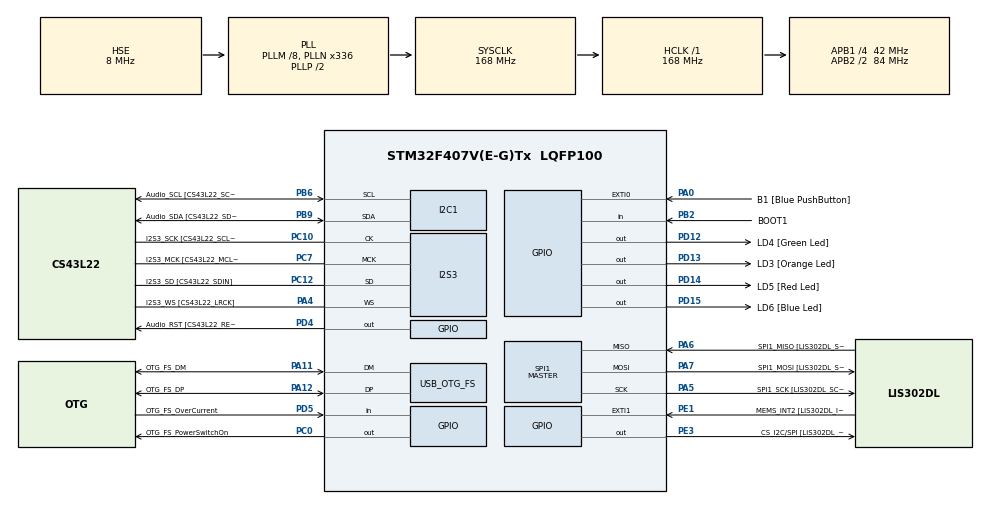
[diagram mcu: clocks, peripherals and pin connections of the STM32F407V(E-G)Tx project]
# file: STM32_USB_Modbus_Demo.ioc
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I2S3.AudioFreq-Half_Duplex_Master=I2S_AUDIOFREQ_96K
I2S3.ErrorAudioFreq=-2.34 %
I2S3.ErrorAudioFreq-Half_Duplex_Master=0.8 %
I2S3.FullDuplexMode=I2S_FULLDUPLEXMODE_DISABLE
I2S3.Instance=SPI$Index
I2S3.RealAudioFreq=93.75 KHz
I2S3.RealAudioFreq-Half_Duplex_Master=96.774 KHz
I2S3.VirtualMode=I2S_MODE_MASTER
Mcu.Family=STM32F4
Mcu.Name=STM32F407V(E-G)Tx
Mcu.Package=LQFP100
NVIC.OTG_FS_IRQn=true\:0\:0\:false\:false\:true\:true\:true
NVIC.PriorityGroup=NVIC_PRIORITYGROUP_0
PA0-WKUP.GPIO_Label=B1 [Blue PushButton]
PA0-WKUP.GPIO_ModeDefaultEXTI=GPIO_MODE_EVT_RISING
PA0-WKUP.GPIO_PuPd=GPIO_NOPULL
PA0-WKUP.Signal=GPXTI0
PA10.GPIO_Label=OTG_FS_ID
PA10.GPIO_Mode=GPIO_MODE_AF_PP
PA10.GPIO_PuPd=GPIO_NOPULL
PA10.GPIO_Speed=GPIO_SPEED_FREQ_LOW
PA10.Signal=USB_OTG_FS_ID
PA11.GPIO_Label=OTG_FS_DM
PA11.GPIO_Mode=GPIO_MODE_AF_PP
PA11.GPIO_PuPd=GPIO_NOPULL
PA11.GPIO_Speed=GPIO_SPEED_FREQ_LOW
PA11.Mode=Device_Only
PA11.Signal=USB_OTG_FS_DM
PA12.GPIO_Label=OTG_FS_DP
PA12.GPIO_Mode=GPIO_MODE_AF_PP
PA12.GPIO_PuPd=GPIO_NOPULL
PA12.GPIO_Speed=GPIO_SPEED_FREQ_LOW
PA12.Mode=Device_Only
PA12.Signal=USB_OTG_FS_DP
PA13.GPIO_Label=SWDIO
PA13.Mode=Serial_Wire
PA13.Signal=SYS_JTMS-SWDIO
PA14.GPIO_Label=SWCLK
PA14.Mode=Serial_Wire
PA14.Signal=SYS_JTCK-SWCLK
PA4.GPIO_Label=I2S3_WS [CS43L22_LRCK]
PA4.GPIO_Mode=GPIO_MODE_AF_PP
PA4.GPIO_PuPd=GPIO_NOPULL
PA4.GPIO_Speed=GPIO_SPEED_FREQ_LOW
PA4.Mode=Half_Duplex_Master
PA4.Signal=I2S3_WS
PA5.GPIO_Label=SPI1_SCK [LIS302DL_SCL/SPC]
PA5.GPIO_Mode=GPIO_MODE_AF_PP
PA5.GPIO_PuPd=GPIO_NOPULL
PA5.GPIO_Speed=GPIO_SPEED_FREQ_LOW
PA5.Mode=Full_Duplex_Master
PA5.Signal=SPI1_SCK
PA6.GPIO_Label=SPI1_MISO [LIS302DL_SDO]
PA6.GPIO_Mode=GPIO_MODE_AF_PP
PA6.GPIO_PuPd=GPIO_NOPULL
PA6.GPIO_Speed=GPIO_SPEED_FREQ_LOW
PA6.Mode=Full_Duplex_Master
PA6.Signal=SPI1_MISO
PA7.GPIO_Label=SPI1_MOSI [LIS302DL_SDA/SDI/SDO]
PA7.GPIO_Mode=GPIO_MODE_AF_PP
PA7.GPIO_PuPd=GPIO_NOPULL
PA7.GPIO_Speed=GPIO_SPEED_FREQ_LOW
PA7.Mode=Full_Duplex_Master
PA7.Signal=SPI1_MOSI
PA9.GPIO_Label=VBUS_FS
PA9.GPIO_Mode=GPIO_MODE_INPUT
PA9.GPIO_PuPd=GPIO_NOPULL
PA9.Signal=USB_OTG_FS_VBUS
PB10.GPIO_Label=CLK_IN [MP45DT02_CLK]
PB10.GPIO_Mode=GPIO_MODE_AF_PP
PB10.GPIO_PuPd=GPIO_NOPULL
PB10.GPIO_Speed=GPIO_SPEED_FREQ_LOW
PB10.Signal=I2S2_CK
PB2.GPIO_Label=BOOT1
PB2.GPIO_Mode=GPIO_MODE_INPUT
PB2.GPIO_PuPd=GPIO_NOPULL
PB2.Signal=GPIO_Input
PB3.GPIO_Label=SWO
PB3.Signal=SYS_JTDO-SWO
PB6.GPIO_Label=Audio_SCL [CS43L22_SCL]
PB6.GPIO_Mode=GPIO_MODE_AF_OD
PB6.GPIO_Pu=GPIO_PULLUP
PB6.GPIO_PuPd=GPIO_NOPULL
PB6.GPIO_Speed=GPIO_SPEED_FREQ_LOW
PB6.Mode=I2C
PB6.Signal=I2C1_SCL
PB9.GPIO_Label=Audio_SDA [CS43L22_SDA]
PB9.GPIO_Mode=GPIO_MODE_AF_OD
PB9.GPIO_Pu=GPIO_PULLUP
PB9.GPIO_PuPd=GPIO_NOPULL
PB9.GPIO_Speed=GPIO_SPEED_FREQ_LOW
PB9.Mode=I2C
PB9.Signal=I2C1_SDA
PC0.GPIO_Label=OTG_FS_PowerSwitchOn
PC0.GPIO_PuPd=GPIO_NOPULL
PC0.GPIO_Speed=GPIO_SPEED_FREQ_LOW
PC0.PinState=GPIO_PIN_SET
PC0.Signal=GPIO_Output
PC10.GPIO_Label=I2S3_SCK [CS43L22_SCLK]
PC10.GPIO_Mode=GPIO_MODE_AF_PP
PC10.GPIO_PuPd=GPIO_NOPULL
PC10.GPIO_Speed=GPIO_SPEED_FREQ_LOW
PC10.Mode=Half_Duplex_Master
PC10.Signal=I2S3_CK
PC12.GPIO_Label=I2S3_SD [CS43L22_SDIN]
PC12.GPIO_Mode=GPIO_MODE_AF_PP
PC12.GPIO_PuPd=GPIO_NOPULL
PC12.GPIO_Speed=GPIO_SPEED_FREQ_LOW
PC12.Mode=Half_Duplex_Master
PC12.Signal=I2S3_SD
PC14-OSC32_IN.GPIO_Label=PC14-OSC32_IN
PC14-OSC32_IN.Mode=LSE-External-Oscillator
PC14-OSC32_IN.Signal=RCC_OSC32_IN
PC15-OSC32_OUT.GPIO_Label=PC15-OSC32_OUT
PC15-OSC32_OUT.Mode=LSE-External-Oscillator
PC15-OSC32_OUT.Signal=RCC_OSC32_OUT
PC3.GPIO_Label=PDM_OUT [MP45DT02_DOUT]
PC3.GPIO_Mode=GPIO_MODE_AF_PP
PC3.GPIO_PuPd=GPIO_NOPULL
PC3.GPIO_Speed=GPIO_SPEED_FREQ_LOW
PC3.Signal=I2S2_SD
PC7.GPIO_Label=I2S3_MCK [CS43L22_MCLK]
PC7.GPIO_Mode=GPIO_MODE_AF_PP
PC7.GPIO_PuPd=GPIO_NOPULL
PC7.GPIO_Speed=GPIO_SPEED_FREQ_LOW
PC7.Mode=Master_Clock_Activated
PC7.Signal=I2S3_MCK
PD12.GPIO_Label=LD4 [Green Led]
PD12.GPIO_PuPd=GPIO_NOPULL
PD12.GPIO_Speed=GPIO_SPEED_FREQ_LOW
PD12.Signal=GPIO_Output
PD13.GPIO_Label=LD3 [Orange Led]
PD13.GPIO_PuPd=GPIO_NOPULL
PD13.GPIO_Speed=GPIO_SPEED_FREQ_LOW
PD13.Signal=GPIO_Output
PD14.GPIO_Label=LD5 [Red Led]
PD14.GPIO_PuPd=GPIO_NOPULL
PD14.GPIO_Speed=GPIO_SPEED_FREQ_LOW
PD14.Signal=GPIO_Output
PD15.GPIO_Label=LD6 [Blue Led]
PD15.GPIO_PuPd=GPIO_NOPULL
PD15.GPIO_Speed=GPIO_SPEED_FREQ_LOW
PD15.Signal=GPIO_Output
PD4.GPIO_Label=Audio_RST [CS43L22_RESET]
PD4.GPIO_PuPd=GPIO_NOPULL
PD4.GPIO_Speed=GPIO_SPEED_FREQ_LOW
PD4.Signal=GPIO_Output
PD5.GPIO_Label=OTG_FS_OverCurrent
PD5.GPIO_Mode=GPIO_MODE_INPUT
PD5.GPIO_PuPd=GPIO_NOPULL
PD5.Signal=GPIO_Input
PE1.GPIO_Label=MEMS_INT2 [LIS302DL_INT2]
PE1.GPIO_ModeDefaultEXTI=GPIO_MODE_EVT_RISING
PE1.GPIO_PuPd=GPIO_NOPULL
PE1.Signal=GPXTI1
PE3.GPIO_Label=CS_I2C/SPI [LIS302DL_CS_I2C/SPI]
PE3.GPIO_PuPd=GPIO_NOPULL
PE3.GPIO_Speed=GPIO_SPEED_FREQ_LOW
PE3.Signal=GPIO_Output
PH0-OSC_IN.GPIO_Label=PH0-OSC_IN
PH0-OSC_IN.Mode=HSE-External-Oscillator
PH0-OSC_IN.Signal=RCC_OSC_IN
PH1-OSC_OUT.GPIO_Label=PH1-OSC_OUT
PH1-OSC_OUT.Mode=HSE-External-Oscillator
PH1-OSC_OUT.Signal=RCC_OSC_OUT
ProjectManager.HeapSize=0x200
ProjectManager.StackSize=0x400
ProjectManager.TargetToolchain=STM32CubeIDE
RCC.48MHZClocksFreq_Value=48000000
RCC.AHBFreq_Value=168000000
RCC.APB1CLKDivider=RCC_HCLK_DIV4
RCC.APB1Freq_Value=42000000
RCC.APB1TimFreq_Value=84000000
RCC.APB2CLKDivider=RCC_HCLK_DIV2
RCC.APB2Freq_Value=84000000
RCC.APB2TimFreq_Value=168000000
RCC.CortexFreq_Value=168000000
RCC.HCLKFreq_Value=168000000
RCC.HSE_VALUE=8000000
RCC.HSI_VALUE=16000000
RCC.PLLM=8
RCC.PLLN=336
RCC.PLLQ=7
RCC.SYSCLKFreq_VALUE=168000000
RCC.SYSCLKSource=RCC_SYSCLKSOURCE_PLLCLK
RCC.VCOOutputFreq_Value=336000000
SPI1.BaudRatePrescaler-Full_Duplex_Master=SPI_BAUDRATEPRESCALER_2
SPI1.CalculateBaudRate-Full_Duplex_Master=42.0 MBits/s
SPI1.Direction=SPI_DIRECTION_2LINES
SPI1.Mode=SPI_MODE_MASTER
SPI1.Mode-Full_Duplex_Master=SPI_MODE_MASTER
SPI1.VirtualType=VM_MASTER
USB_DEVICE.CLASS_NAME_FS=CDC
USB_DEVICE.VirtualMode-CDC_FS=Cdc
USB_DEVICE.VirtualModeFS=Cdc_FS
USB_OTG_FS.VirtualMode=Device_Only
VP_USB_DEVICE_VS_USB_DEVICE_CDC_FS.Mode=CDC_FS
board=STM32F407G-DISC1

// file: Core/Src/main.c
/* USER CODE BEGIN Header */
/**
  ******************************************************************************
  * @file           : main.c
  * @brief          : Main program body
  ******************************************************************************
  * @attention
  *
  * <h2><center>&copy; Copyright (c) 2022 STMicroelectronics.
  * All rights reserved.</center></h2>
  *
  * This software component is licensed by ST under Ultimate Liberty license
  * SLA0044, the "License"; You may not use this file except in compliance with
  * the License. You may obtain a copy of the License at:
  *                             www.st.com/SLA0044
  *
  ******************************************************************************
  */
/* USER CODE END Header */
#include "main.h"
#include "i2c.h"
#include "i2s.h"
#include "spi.h"
#include "usb_device.h"
#include "gpio.h"

/* USER CODE BEGIN Includes */
#include "mb.h"
#include "mbframe.h"
#include "mb_m.h"
/* USER CODE END Includes */

/* USER CODE BEGIN PV */
#define BUFSIZE 256
char	SendBuffer[BUFSIZE];
int	Counter;
int KeyState=0;

uint8_t RXbuffer[BUFSIZE];
volatile uint8_t RXbufferStrLen=0;

uint8_t MBbuffer[BUFSIZE];
Modbus_Master_SM_State MB_MasterState=MBUS_READY;
uint8_t MBCnt = 0;
eMBMasterReqErrCode    errorCode = MB_MRE_NO_ERR;
uint16_t errorCount = 0;
uint16_t succCount = 0;
uint8_t MBErrorCode = 0;
USHORT  usModbusUserData[MB_PDU_SIZE_MAX];

/* USER CODE END PV */

void SystemClock_Config(void);

int main(void)
{
  /* USER CODE BEGIN 1 */
	uint32_t lastRun = 0U;
	uint32_t nowTime;

  /* USER CODE END 1 */

  /* MCU Configuration--------------------------------------------------------*/

  /* Reset of all peripherals, Initializes the Flash interface and the Systick. */
  HAL_Init();

  /* Configure the system clock */
  SystemClock_Config();

  /* Initialize all configured peripherals */
  MX_GPIO_Init();
  MX_I2C1_Init();
  MX_I2S3_Init();
  MX_SPI1_Init();
  MX_USB_DEVICE_Init();
  /* USER CODE BEGIN 2 */

//  eMBMasterInit( MB_RTU, &huart1, 115200, &htim2 );
//   eMBMasterEnable( );
//   eMBMasterReqReadInputRegister(0xA, 0, 2, 2);
  /* USER CODE END 2 */

  /* Infinite loop */
  /* USER CODE BEGIN WHILE */
  while (1)
  {

	 nowTime = HAL_GetTick();

	 if ((nowTime - lastRun) >= 1000) {
		 HAL_GPIO_TogglePin(GPIOD, GPIO_PIN_12);
		 HAL_GPIO_TogglePin(GPIOD, GPIO_PIN_13);
		 HAL_GPIO_TogglePin(GPIOD, GPIO_PIN_14);

		 MB_MasterState=MBUS_REQSENT;
// -------------------------------------------------------------------
//       Checked tests
//       ModRSSim2 Modbus slave simulator running on PC
//		 and connected to USB Virtual COM port
// -------------------------------------------------------------------

//		 ---   Slave ID=1, Read state of 8 coils from address 0
//		 eMBMasterReqReadCoils( 1, 0, 8 ,1 );  //RXbuffer[3];

//		 ---   Slave ID=1, Write ON state to one coil on addresses 0-7
//		 errorCode = eMBMasterReqWriteCoil(1,MBCnt,0xFF00,1);
//		 MBCnt= (MBCnt + 1) % 8;

//		 ---   Slave ID=1, Write ON state to all coils on addresses 0-7
//		 errorCode = eMBMasterReqWriteMultipleCoils(1,0,8, &MBCnt,1);
//		 MBCnt++;

//		 ---   Slave ID=1, Read from 8 discrete inputs on addresses 0-7
//		 errorCode = eMBMasterReqReadDiscreteInputs(1,0,8,1);   //result in RXbuffer[3];

//		 ---   Slave ID=1, Read from 2 analog input registers from addresses 0-1
//        errorCode = eMBMasterReqReadInputRegister(1,0,2,1); //results in RXbuffer[3-6];

//		 ---   Slave ID=1, Read state of 2 analog output registers from addresses 0-1
//		  errorCode = eMBMasterReqReadHoldingRegister(1,0,2,1); //results in RXbuffer[3-6];

//		 ---   Slave ID=1, Write state 511 of 1 analog output register on addresses 0-15
//		  errorCode = eMBMasterReqWriteHoldingRegister(1,MBCnt,511,1);
//		  MBCnt= (MBCnt + 1) % 16;

//		 ---   Slave ID=1, Write state 511 of 1 analog output register on addresses 0-15
		 usModbusUserData[0]= usModbusUserData[1]= usModbusUserData[2]= usModbusUserData[3]=MBCnt;
		 errorCode = eMBMasterReqWriteMultipleHoldingRegister(1,MBCnt,2,usModbusUserData,1);
		 MBCnt= (MBCnt + 1) % 16;

		 // -------------------------------------
		 //       UNChecked tests - TODO
		 // -------------------------------------

		 //		errorCode = eMBMasterReqReadWriteMultipleHoldingRegister(1,3,2,usModbusUserData,5,2,WAIT_FOREVER);

	     lastRun = nowTime;
	 }

	 KeyState = HAL_GPIO_ReadPin(GPIOA, GPIO_PIN_0);
	 HAL_GPIO_WritePin(GPIOD, GPIO_PIN_15, KeyState);

      // Receive over USB Virtual ComPort
	  if (RXbufferStrLen > 0) {

		  if ((RXbuffer[0] == MBbuffer[0]) && (RXbuffer[1] == MBbuffer[1]) ) {
			  succCount++;
		  } else {
			  errorCount++;
			  MBErrorCode = RXbuffer[2];
		  }

		  snprintf(SendBuffer,BUFSIZE,"Modbus Msg Received: Addr:%d FC:%02x Bytes:%d | %02x %02x %04x\r\n\0",RXbuffer[0],RXbuffer[1],RXbuffer[2],RXbuffer[3],RXbuffer[4],RXbuffer[3]*256+RXbuffer[4]);
          // Not sending on USB not to interfere with MODBUS communication !

		  MB_MasterState=MBUS_READY;
		  RXbufferStrLen = 0;

	  }

    /* USER CODE END WHILE */

  }
}

void SystemClock_Config(void)
{
  RCC_OscInitTypeDef RCC_OscInitStruct = {0};
  RCC_ClkInitTypeDef RCC_ClkInitStruct = {0};

  /** Configure the main internal regulator output voltage
  */
  __HAL_RCC_PWR_CLK_ENABLE();
  __HAL_PWR_VOLTAGESCALING_CONFIG(PWR_REGULATOR_VOLTAGE_SCALE1);
  /** Initializes the RCC Oscillators according to the specified parameters
  * in the RCC_OscInitTypeDef structure.
  */
  RCC_OscInitStruct.OscillatorType = RCC_OSCILLATORTYPE_HSE;
  RCC_OscInitStruct.HSEState = RCC_HSE_ON;
  RCC_OscInitStruct.PLL.PLLState = RCC_PLL_ON;
  RCC_OscInitStruct.PLL.PLLSource = RCC_PLLSOURCE_HSE;
  RCC_OscInitStruct.PLL.PLLM = 8;
  RCC_OscInitStruct.PLL.PLLN = 336;
  RCC_OscInitStruct.PLL.PLLP = RCC_PLLP_DIV2;
  RCC_OscInitStruct.PLL.PLLQ = 7;
  if (HAL_RCC_OscConfig(&RCC_OscInitStruct) != HAL_OK)
  {
    Error_Handler();
  }
  /** Initializes the CPU, AHB and APB buses clocks
  */
  RCC_ClkInitStruct.ClockType = RCC_CLOCKTYPE_HCLK|RCC_CLOCKTYPE_SYSCLK
                              |RCC_CLOCKTYPE_PCLK1|RCC_CLOCKTYPE_PCLK2;
  RCC_ClkInitStruct.SYSCLKSource = RCC_SYSCLKSOURCE_PLLCLK;
  RCC_ClkInitStruct.AHBCLKDivider = RCC_SYSCLK_DIV1;
  RCC_ClkInitStruct.APB1CLKDivider = RCC_HCLK_DIV4;
  RCC_ClkInitStruct.APB2CLKDivider = RCC_HCLK_DIV2;

  if (HAL_RCC_ClockConfig(&RCC_ClkInitStruct, FLASH_LATENCY_5) != HAL_OK)
  {
    Error_Handler();
  }
}

void Error_Handler(void)
{
  __disable_irq();
  while (1)
  {
  }
}

/************************ (C) COPYRIGHT STMicroelectronics *****END OF FILE****/
